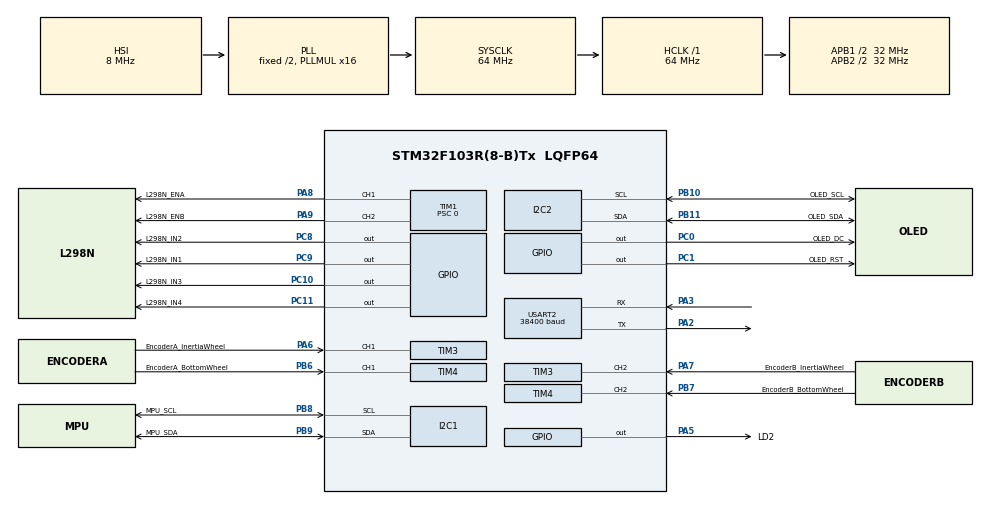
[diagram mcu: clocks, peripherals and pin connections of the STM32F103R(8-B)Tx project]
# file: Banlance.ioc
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Mcu.Family=STM32F1
PC10.GPIO_PuPd=GPIO_NOPULL
PB10.GPIO_Speed=GPIO_SPEED_FREQ_HIGH
PB10.Mode=I2C
PC10.Signal=GPIO_Output
TIM4.EncoderMode=TIM_ENCODERMODE_TI12
USART2.Parity=PARITY_NONE
PA3.GPIO_PuPd=GPIO_NOPULL
TIM3.EncoderMode=TIM_ENCODERMODE_TI12
PC0.GPIO_Label=OLED_DC
PC0.GPIO_ModeDefaultOutputPP=GPIO_MODE_OUTPUT_PP
PA6.GPIO_Label=EncoderA_InertiaWheel
PB6.GPIO_Label=EncoderA_BottomWheel
PC10.GPIO_Speed=GPIO_SPEED_FREQ_LOW
PB11.Signal=I2C2_SDA
PA3.GPIO_Speed=GPIO_SPEED_FREQ_LOW
PA5.PinState=GPIO_PIN_RESET
RCC.SYSCLKSource=RCC_SYSCLKSOURCE_PLLCLK
ProjectManager.StackSize=0x400
PD1-OSC_OUT.Signal=RCC_OSC_OUT
PB11.GPIO_Speed=GPIO_SPEED_FREQ_HIGH
PA9.GPIO_ModeDefaultPP=GPIO_MODE_AF_PP
PC11.GPIO_PuPd=GPIO_NOPULL
TIM1.Prescaler=0
RCC.HCLKFreq_Value=64000000
RCC.APB2TimFreq_Value=64000000
TIM3.Period=65535
PB6.Signal=S_TIM4_CH1
PC1.PinState=GPIO_PIN_RESET
RCC.AHBFreq_Value=64000000
PC1.GPIO_PuPd=GPIO_NOPULL
RCC.RTCClockSelection=RCC_RTCCLKSOURCE_LSE
RCC.PLLMUL=RCC_PLL_MUL16
PC14-OSC32_IN.Mode=LSE-External-Oscillator
TIM1.Channel-PWM\ Generation1\ CH1=TIM_CHANNEL_1
PA14.Mode=Serial_Wire
PA5.GPIO_PuPd=GPIO_NOPULL
PC11.GPIO_Label=L298N_IN4
NVIC.TIM2_IRQn=true\:1\:0\:true\:false\:true\:true\:true
PC11.GPIO_Speed=GPIO_SPEED_FREQ_LOW
SH.S_TIM4_CH2.0=TIM4_CH2,Encoder_Interface
PB7.Signal=S_TIM4_CH2
PA8.Signal=S_TIM1_CH1
SH.S_TIM3_CH1.0=TIM3_CH1,Encoder_Interface
TIM4.Period=65535
PC10.PinState=GPIO_PIN_RESET
VP_TIM1_VS_ClockSourceINT.Mode=Internal
PB7.GPIO_Label=EncoderB_BottomWheel
PC10.GPIO_ModeDefaultOutputPP=GPIO_MODE_OUTPUT_PP
Mcu.Package=LQFP64
PB9.Signal=I2C1_SDA
PA6.Signal=S_TIM3_CH1
USART2.VirtualMode=VM_ASYNC
TIM4.IC1Filter=2
USART2.WordLength=WORDLENGTH_8B
RCC.APB2CLKDivider=RCC_HCLK_DIV2
PB9.GPIO_Speed=GPIO_SPEED_FREQ_HIGH
SH.S_TIM4_CH1.0=TIM4_CH1,Encoder_Interface
RCC.APB1TimFreq_Value=64000000
TIM1.Period=12799
PB11.GPIO_Mode=GPIO_MODE_AF_OD
PC0.GPIO_PuPd=GPIO_NOPULL
PA8.GPIO_Speed=GPIO_SPEED_FREQ_LOW
PC0.PinState=GPIO_PIN_RESET
PA3.Signal=USART2_RX
PC15-OSC32_OUT.Mode=LSE-External-Oscillator
PD1-OSC_OUT.Mode=HSE-External-Clock-Source
TIM4.CounterMode=TIM_COUNTERMODE_UP
PB9.GPIO_Label=MPU_SDA
PC10.GPIO_Label=L298N_IN3
PC9.GPIO_Label=L298N_IN1
PA9.GPIO_Label=L298N_ENB
PC11.Signal=GPIO_Output
PC8.Signal=GPIO_Output
PB11.GPIO_Label=OLED_SDA
PC9.PinState=GPIO_PIN_RESET
TIM4.IC2Filter=2
PD0-OSC_IN.Signal=RCC_OSC_IN
PC0.Signal=GPIO_Output
RCC.APB1CLKDivider=RCC_HCLK_DIV2
PC14-OSC32_IN.Signal=RCC_OSC32_IN
NVIC.USART2_IRQn=true\:2\:0\:true\:false\:true\:true\:true
USART2.BaudRate=38400
PC8.GPIO_Label=L298N_IN2
PA3.Mode=Asynchronous
PA13.Signal=SYS_JTMS-SWDIO
PB8.GPIO_Label=MPU_SCL
PC0.GPIO_Speed=GPIO_SPEED_FREQ_LOW
PB10.GPIO_Mode=GPIO_MODE_AF_OD
PA8.GPIO_Label=L298N_ENA
SH.S_TIM1_CH1.0=TIM1_CH1,PWM Generation1 CH1
PB11.Mode=I2C
ProjectManager.TargetToolchain=Makefile
TIM3.IC2Filter=2
PB10.GPIO_Label=OLED_SCL
I2C1.I2C_Mode=I2C_Fast
PA3.GPIO_Mode=GPIO_MODE_INPUT
PB9.Mode=I2C
PA9.Signal=S_TIM1_CH2
TIM1.Channel-PWM\ Generation2\ CH2=TIM_CHANNEL_2
RCC.USBFreq_Value=64000000
TIM4.Prescaler=0
PC15-OSC32_OUT.Signal=RCC_OSC32_OUT
PD0-OSC_IN.Mode=HSE-External-Clock-Source
PB10.Signal=I2C2_SCL
PA5.Signal=GPIO_Output
SH.S_TIM3_CH2.0=TIM3_CH2,Encoder_Interface
TIM3.IC1Filter=2
board=NUCLEO-F103RB
PA8.GPIO_ModeDefaultPP=GPIO_MODE_AF_PP
PB9.GPIO_Mode=GPIO_MODE_AF_OD
RCC.APB2Freq_Value=32000000
PC11.PinState=GPIO_PIN_RESET
PA5.GPIO_ModeDefaultOutputPP=GPIO_MODE_OUTPUT_PP
SH.S_TIM1_CH2.0=TIM1_CH2,PWM Generation2 CH2
VP_TIM2_VS_ClockSourceINT.Mode=Internal
PC9.GPIO_ModeDefaultOutputPP=GPIO_MODE_OUTPUT_PP
PC1.GPIO_Label=OLED_RST
PC9.GPIO_PuPd=GPIO_NOPULL
PC1.GPIO_Speed=GPIO_SPEED_FREQ_LOW
PC11.GPIO_ModeDefaultOutputPP=GPIO_MODE_OUTPUT_PP
TIM2.Period=63999
PA13.Mode=Serial_Wire
Mcu.Name=STM32F103R(8-B)Tx
PA2.Signal=USART2_TX
PB3.Signal=SYS_JTDO-TRACESWO
RCC.SYSCLKFreq_VALUE=64000000
PA7.GPIO_Label=EncoderB_InertiaWheel
PA5.GPIO_Label=LD2
PA14.Signal=SYS_JTCK-SWCLK
ProjectManager.HeapSize=0x400
PA5.GPIO_Speed=GPIO_SPEED_FREQ_LOW
PC1.GPIO_ModeDefaultOutputPP=GPIO_MODE_OUTPUT_PP
PC9.GPIO_Speed=GPIO_SPEED_FREQ_LOW
NVIC.PriorityGroup=NVIC_PRIORITYGROUP_3
PB8.Mode=I2C
PA2.Mode=Asynchronous
PA9.GPIO_Speed=GPIO_SPEED_FREQ_LOW
PB8.Signal=I2C1_SCL
PC9.Signal=GPIO_Output
PB8.GPIO_Mode=GPIO_MODE_AF_OD
RCC.APB1Freq_Value=32000000
PB8.GPIO_Speed=GPIO_SPEED_FREQ_HIGH
PC1.Signal=GPIO_Output
PA7.Signal=S_TIM3_CH2

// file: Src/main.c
/* USER CODE BEGIN Header */
/**
  ******************************************************************************
  * @file           : main.c
  * @brief          : Main program body
  ******************************************************************************
  * @attention
  *
  * <h2><center>&copy; Copyright (c) 2020 STMicroelectronics.
  * All rights reserved.</center></h2>
  *
  * This software component is licensed by ST under BSD 3-Clause license,
  * the "License"; You may not use this file except in compliance with the
  * License. You may obtain a copy of the License at:
  *                        opensource.org/licenses/BSD-3-Clause
  *
  ******************************************************************************
  */
/* USER CODE END Header */

#include "main.h"
#include "i2c.h"
#include "tim.h"
#include "usart.h"
#include "gpio.h"

/* USER CODE BEGIN Includes */
#include "mpu6050.h"
#include "ssd1306.h"
#include "encoder.h"
#include "pwm.h"
#include "PID.h"
#include "stdio.h"
#include <stdlib.h>
#include "string.h"
#define OLED_DISPALY_KAlMAN
// #define OLED_DISPLAY_ENCODER
// #define OLED_DISPLAY_PID_PARAMS

#define MAX_RX_BUFFER_SIZE 1024
#define BLINK_PERIOD       128
#define OLED_PERIOD        128
#define SP_PERIOD          128
/* USER CODE END Includes */

/* USER CODE BEGIN PV */
MPU6050_t MPU6050;
extern PID InertiaWheel_PID, BottomWheel_PID;
char RX_Buffer[MAX_RX_BUFFER_SIZE];
char* RX_pointer = RX_Buffer;
char currRXChar;
char PWM_OUTPUT_ENABLE = 0;

/* USER CODE END PV */

void SystemClock_Config(void);
static void Print_Params();

/* USER CODE BEGIN 0 */

#define dataFont Font_7x10
void Update_display(){
  #ifdef OLED_DISPALY_KAlMAN
  /* Displat MPU6050 */
  ssd1306_WriteString(0, 0, "KX = ", dataFont, White);
  ssd1306_WriteFloat(50, 0, MPU6050.KalmanAngleX, 2);
  ssd1306_WriteString(0, 10, "KY = ", dataFont, White);
  ssd1306_WriteFloat(50, 10, MPU6050.KalmanAngleY, 2);
  #endif
  #ifdef OLED_DISPLAY_ENCODER
  /* Display encoder */
  ssd1306_WriteString(0, 20, "BEC = ", dataFont, White);
  ssd1306_WriteInt(50, 20, Read_Encoder_BottomWheel_Count(), 5);
  ssd1306_WriteString(0, 30, "IEC = ", dataFont, White);
  ssd1306_WriteInt(50, 30, Read_Encoder_InertiaWheel_Count(), 5);
  #endif
  #ifdef OLED_DISPLAY_PID_PARAMS
  #ifdef BW_ANGLE_LOOP_ENABLE
  ssd1306_WriteString(0, 0, "BWP = ", dataFont, White); ssd1306_WriteFloat(70, 0, BottomWheel_Speed_LOOP_PID.Kp, 2);
  ssd1306_WriteString(0, 10, "BWI = ", dataFont, White); ssd1306_WriteFloat(70, 10, BottomWheel_Speed_LOOP_PID.Ki, 2);
  ssd1306_WriteString(0, 20, "BWD = ", dataFont, White); ssd1306_WriteFloat(70, 20, BottomWheel_Speed_LOOP_PID.Kd, 2);
  #endif
  #ifdef IW_ANGLE_LOOP_ENABLE
  ssd1306_WriteString(0, 30, "IWP = ", dataFont, White); ssd1306_WriteFloat(70, 30, InertiaWheel_PID.Kp, 2);
  ssd1306_WriteString(0, 40, "IWI = ", dataFont, White); ssd1306_WriteFloat(70, 40, InertiaWheel_PID.Ki, 2);
  ssd1306_WriteString(0, 50, "IWD = ", dataFont, White); ssd1306_WriteFloat(70, 50, InertiaWheel_PID.Kd, 2);
  #endif
  #endif
  ssd1306_UpdateScreen();
}
/* USER CODE END 0 */

int main(void)
{

  /* MCU Configuration--------------------------------------------------------*/

  /* Reset of all peripherals, Initializes the Flash interface and the Systick. */
  HAL_Init();

  /* Configure the system clock */
  SystemClock_Config();

  /* Initialize all configured peripherals */
  MX_GPIO_Init();
  MX_USART2_UART_Init();
  MX_I2C1_Init();
  MX_I2C2_Init();
  MX_TIM1_Init();
  MX_TIM2_Init();
  MX_TIM3_Init();
  MX_TIM4_Init();
  /* USER CODE BEGIN 2 */
  while (MPU6050_Init(&hi2c1) == 1);
  HAL_Delay(500);
  // PWM_Init(0);
  Encoder_Init();
  ssd1306_Init();
  HAL_Delay(500);

  HAL_TIM_Base_Start_IT(&htim2);    // 开启定时器2中断: PID 控制, I2C 读取
  HAL_UART_Receive_IT(&huart2, (uint8_t *) &currRXChar, 1);     // 开启接收中断
  /* USER CODE END 2 */

  /* Infinite loop */
  while (1)
  {
    /* USER CODE BEGIN 3 */
    // uint8_t val = MPU_CNT % MPU_PERIOD;
    // if(val == 0){
    //   MPU6050_Read_All(&hi2c1, &MPU6050);
    // }
    // if(OLED_CNT % 40 == 0){
    //   Update_display();
    // }
    // if(SP_CNT % 40 == 0){
    //   // if(PWM_OUTPUT_ENABLE){
    //     Print_Params();
    //   // }
    // }
  }
  /* USER CODE END 3 */
}

void SystemClock_Config(void)
{
  RCC_OscInitTypeDef RCC_OscInitStruct = {0};
  RCC_ClkInitTypeDef RCC_ClkInitStruct = {0};

  /** Initializes the CPU, AHB and APB busses clocks
  */
  RCC_OscInitStruct.OscillatorType = RCC_OSCILLATORTYPE_HSI;
  RCC_OscInitStruct.HSIState = RCC_HSI_ON;
  RCC_OscInitStruct.HSICalibrationValue = RCC_HSICALIBRATION_DEFAULT;
  RCC_OscInitStruct.PLL.PLLState = RCC_PLL_ON;
  RCC_OscInitStruct.PLL.PLLSource = RCC_PLLSOURCE_HSI_DIV2;
  RCC_OscInitStruct.PLL.PLLMUL = RCC_PLL_MUL16;
  if (HAL_RCC_OscConfig(&RCC_OscInitStruct) != HAL_OK)
  {
    Error_Handler();
  }
  /** Initializes the CPU, AHB and APB busses clocks
  */
  RCC_ClkInitStruct.ClockType = RCC_CLOCKTYPE_HCLK|RCC_CLOCKTYPE_SYSCLK
                              |RCC_CLOCKTYPE_PCLK1|RCC_CLOCKTYPE_PCLK2;
  RCC_ClkInitStruct.SYSCLKSource = RCC_SYSCLKSOURCE_PLLCLK;
  RCC_ClkInitStruct.AHBCLKDivider = RCC_SYSCLK_DIV1;
  RCC_ClkInitStruct.APB1CLKDivider = RCC_HCLK_DIV2;
  RCC_ClkInitStruct.APB2CLKDivider = RCC_HCLK_DIV2;

  if (HAL_RCC_ClockConfig(&RCC_ClkInitStruct, FLASH_LATENCY_2) != HAL_OK)
  {
    Error_Handler();
  }
}

/* USER CODE BEGIN 4 */

void HAL_UART_TxCpltCallback(UART_HandleTypeDef *huart)
{
  /* Prevent unused argument(s) compilation warning */
  UNUSED(huart);
  /* NOTE: This function should not be modified, when the callback is needed,
           the HAL_UART_TxCpltCallback could be implemented in the user file
   */
}

void HAL_UART_RxCpltCallback(UART_HandleTypeDef *huart)
{
  /* Prevent unused argument(s) compilation warning */
  UNUSED(huart);
  static WHEEL Setting_Wheel;
  static char LOOP;
  if(currRXChar == 'B'){
    Setting_Wheel = BOTTOM_WHEEL;
  }
  else if(currRXChar == 'I'){
    Setting_Wheel = INERTIA_WHEEL;
  }
  else if(currRXChar == 'A'){
    if(Setting_Wheel == BOTTOM_WHEEL){
      LOOP = 'A';   // 设置角度环
    }
  }
  else if(currRXChar == 'S'){
    if(Setting_Wheel == BOTTOM_WHEEL){
      LOOP = 'S';   // 设置角度环
    }
  }
  else if(currRXChar == 'G'){         // GO !
    PWM_OUTPUT_ENABLE = 1;
    PWM_Init(0);
    HAL_UART_Transmit(&huart2, (uint8_t*) "START\n", 6, 200);
  }
  else if(currRXChar == 'P'){         // PAUSE !
    PWM_OUTPUT_ENABLE = 0;
    PWM_DeInit();
    HAL_UART_Transmit(&huart2, (uint8_t*) "STOP\n", 6, 200);
    PID_TopLevel();   // 清零
  }
  else{
    *(RX_pointer++) = currRXChar;
    if(currRXChar == '*'){
      char Kp[100], Ki[100], Kd[100];
      uint8_t state = 0;
      uint8_t i = 0;
      for(char* p = RX_Buffer + 1; *p != '*'; p++){
        if(*p == ' '){
          i++;
          if(state == 0){
            Kp[i] = '\0';
          }
          if(state == 1){
            Ki[i] = '\0';
          }
          if(state == 2){
            Kd[i] = '\0';
          }
          i = 0;
          state++;
          continue;
        }
        if(state == 0){
          Kp[i++] = *p;
        }
        if(state == 1){
          Ki[i++] = *p;
        }
        if(state == 2){
          Kd[i++] = *p;
        }
      }
      HAL_UART_Transmit(&huart2, (uint8_t*) "OK\n", 4, 200);
      if(Setting_Wheel == BOTTOM_WHEEL){
        Set_BottomWheel_PID_Params(atof(Kp), atof(Ki), atof(Kd), LOOP);
      }
      if(Setting_Wheel == INERTIA_WHEEL){
        Set_InertiaWheel_PID_Params(atof(Kp), atof(Ki), atof(Kd));
      }
      RX_pointer = RX_Buffer;
    }
  }
  HAL_UART_Receive_IT(&huart2, (uint8_t *) &currRXChar, 1);
}

static void SendString(char* str, const char* end){
  HAL_UART_Transmit(&huart2, (uint8_t*) str, strlen(str), 50);
  if(*end){
    HAL_UART_Transmit(&huart2, (uint8_t*) end, 1, 50);
  }
}

static void floatTo2Int(float val, int* ip, int* fp){
	*ip = val;
	val = val - *ip;
	if(val < 0) val = -val;
  val = val*100;
  *fp = val;
}

static void Print_Params(){
  char intStr[100], floatStr[100];
  int ipart, fpart;
  static uint16_t PID_NUM = 1;
  sprintf(intStr, "%d", PID_NUM);
  SendString(intStr, " ");
  sprintf(intStr, "%ld", Read_Encoder_BottomWheel_Count());
  SendString(intStr, " ");
  sprintf(intStr, "%ld", Read_Encoder_InertiaWheel_Count());
  SendString(intStr, " ");

  // sprintf(intStr, "%d", (int) MPU6050.KalmanAngleX);
  // SendString(intStr, " ");
  // sprintf(intStr, "%d", (int) MPU6050.KalmanAngleY);
  // SendString(intStr, "\n");

  floatTo2Int(MPU6050.KalmanAngleX, &ipart, &fpart);
  sprintf(floatStr, "%d.%d", ipart, fpart);
  SendString(floatStr, " ");
  floatTo2Int(MPU6050.KalmanAngleY, &ipart, &fpart);
  sprintf(floatStr, "%d.%d", ipart, fpart);
  SendString(floatStr, "\n");
  PID_NUM++;
}

void HAL_TIM_PeriodElapsedCallback(TIM_HandleTypeDef *htim)     // TIM2 溢出周期为 1ms
{
  /* Prevent unused argument(s) compilation warning */
  static uint8_t BLINK_CNT = 0;
  static uint8_t BW_ANGLE_PID_CNT = 10;
  // static uint8_t IW_ANGLE_PID_CNT = 2;
  static uint8_t MPU_CNT = 32;
  static uint8_t OLED_CNT = 64;
  static uint8_t SP_CNT = 96;
  UNUSED(htim);
  if(!BLINK_CNT){
    HAL_GPIO_TogglePin(LD2_GPIO_Port, LD2_Pin);
  }
  if(!BW_ANGLE_PID_CNT){
    if(PWM_OUTPUT_ENABLE){
      PID_TopLevel();
    }
  }
  if(!MPU_CNT){
    MPU6050_Read_All(&hi2c1, &MPU6050);
  }
  if(!OLED_CNT){
    Update_display();
  }
  if(!SP_CNT){
    // if(PWM_OUTPUT_ENABLE){
      Print_Params();
    // }
  }
  BLINK_CNT = (BLINK_CNT + 1) % BLINK_PERIOD;
  BW_ANGLE_PID_CNT = (BW_ANGLE_PID_CNT + 1) % BW_PID_PERIOD;
  // IW_ANGLE_PID_CNT = (IW_ANGLE_PID_CNT + 1) % IW_PID_PERIOD;
  MPU_CNT = (MPU_CNT + 1) % MPU_PERIOD;
  OLED_CNT = (OLED_CNT + 1) % OLED_PERIOD;
  SP_CNT = (SP_CNT + 1) % SP_PERIOD;
}
/* USER CODE END 4 */

void Error_Handler(void)
{
}

/************************ (C) COPYRIGHT STMicroelectronics *****END OF FILE****/
//
